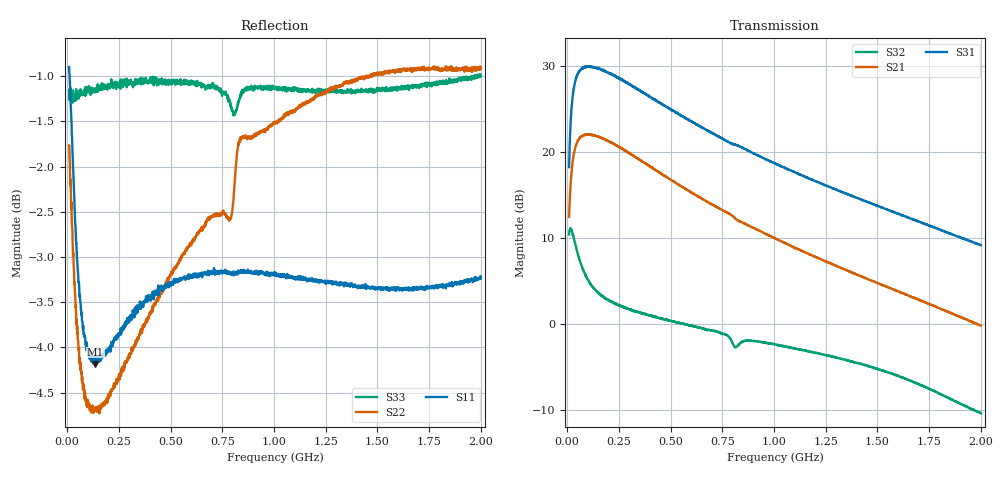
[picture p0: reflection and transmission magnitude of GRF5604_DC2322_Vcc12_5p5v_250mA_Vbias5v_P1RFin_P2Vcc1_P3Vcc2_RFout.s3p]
!Keysight Technologies,N5244B,MY57181157,A.18.40.03
!Date: Wednesday, September 10, 2025 10:49:12
!Correction: S11(C  3-Port  )
!S12(C  3-Port  )
!S13(C  3-Port  )
!S21(C  3-Port  )
!S22(C  3-Port  )
!S23(C  3-Port  )
!S31(C  3-Port  )
!S32(C  3-Port  )
!S33(C  3-Port  )
!S3P File: Measurements: <S11,S12,S13>,
!<S21,S22,S23>,
!<S31,S32,S33>:
# Hz S  RI  R 50
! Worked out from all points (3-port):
!   1991 points, 10 MHz to 2 GHz, reference 50 ohm
!   strongest paths, dB at 10 MHz, 507 MHz, 1.005 GHz, 1.503 GHz, 2 GHz:
!     S31: 18.2, 24.8, 18.7, 13.7, 9.2
!     S21: 12.5, 16.7, 10.0, 4.7, -0.2
!     S32: 10.4, 0.3, -2.4, -5.2, -10.4
!   lowest |S11| = -4.2 dB at 136 MHz (marker M1), VSWR 4.23, Z = 41 - j70.6 ohm
!   |S11| at or under -10 dB: nowhere
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1e7  0.886 -0.1674  0.041 -0.011  5.62e-06 -0.000445
     -1.789 -3.8  0.7127 -0.3974  0.00496 -0.00909
     -1.599 7.987  -3.057 -1.276  -0.2319 -0.8338
3e7  0.7152 -0.337  0.027 -0.0184  -0.000268 -0.000217
     -7.237 -5.794  0.2245 -0.6752  0.00163 0.000136
     13.59 17.54  -3.105 0.94  -0.7576 -0.4218
6e7  0.5359 -0.4073  0.0147 -0.0158  0.000157 -5.11e-06
     -11.57 -2.789  -0.1997 -0.5855  0.00359 0.00275
     27.66 10.09  -1.984 1.291  -0.8432 -0.2303
9.2e7  0.431 -0.4639  0.00991 -0.0114  5.98e-06 -8.07e-05
       -12.58 0.5431  -0.3656 -0.4626  0.00473 0.00356
       31.11 0.7562  -1.498 1.139  -0.8567 -0.161
1.36e8  0.3141 -0.532  0.00804 -0.00745  -0.000139 2.96e-05
        -11.76 3.861  -0.4583 -0.3589  0.00652 0.00437
        29.67 -8.696  -1.229 0.9977  -0.87 -0.1153
2.69e8  -0.00766 -0.645  0.00744 -0.00242  -4.28e-05 0.000363
        -6.681 7.926  -0.5672 -0.235  0.00924 0.00518
        16.43 -20.22  -0.8989 0.883  -0.8843 -0.0669
4.91e8  -0.3489 -0.5881  0.00884 -0.000577  -0.000377 0.000755
        -0.9153 6.939  -0.6704 -0.1536  0.0112 0.00471
        0.8924 -17.99  -0.5663 0.8848  -0.8859 -0.0497
7.02e8  -0.4972 -0.4832  0.00915 -0.000492  -0.000385 0.00137
        1.111 4.806  -0.7409 -0.0919  0.0122 0.00606
        -4.569 -11.95  -0.2893 0.8703  -0.8782 -0.0352
1.005e9  -0.5974 -0.3539  0.00836 -0.000874  -0.000482 0.00206
         1.763 2.611  -0.8401 -0.00714  0.00891 0.00176
         -6.345 -5.784  -0.0261 0.7605  -0.8783 -0.0262
2e9  -0.688 0.0525  0.00781 0.00228  0.00065 0.00462
     0.9644 0.1566  -0.8074 0.3983  0.00991 0.00991
     -2.671 1.044  0.2378 0.1869  -0.8808 0.138
